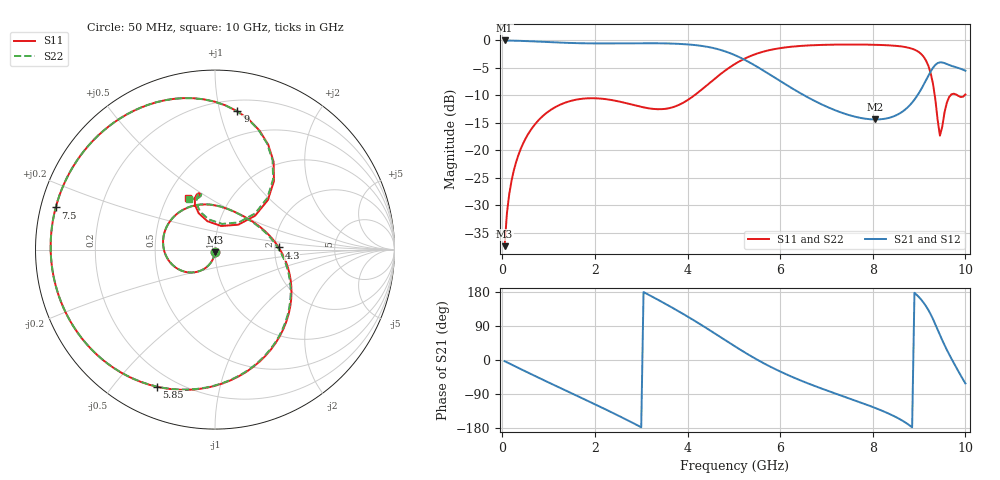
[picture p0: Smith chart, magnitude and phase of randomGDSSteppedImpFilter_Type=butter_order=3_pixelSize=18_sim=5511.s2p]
! freq	dB(S11)	phase(S11)	dB(S12)	phase(S12)
!  dB(S21)	phase(S21)	dB(S22)	phase(S22)
!S-par simulation data
#  GHz  S  DB  R 50
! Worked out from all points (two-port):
!   200 points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, 50 MHz to 10 GHz, reference 50 ohm
!   highest |S21| = -0.01 dB at 50 MHz (marker M1); lowest = -14.4 dB at 8.05 GHz (marker M2)
!   |S21| within 3 dB of the highest: start of sweep to 5.108 GHz
!   lowest |S11| = -37.5 dB at 50 MHz (marker M3), VSWR 1.03, Z = 49.9 - j1.34 ohm
!   |S11| at or under -10 dB: start of sweep to 4.148 GHz; 9.338 GHz to 9.68 GHz (341.9 MHz wide, 3.6 % of centre); 9.83 GHz to 9.98 GHz (149.6 MHz wide, 1.51 % of centre)
!   |S22| runs from -37.5 to -0.7 dB; largest |S21 - S12| = 0
!   S11 on the Smith chart (normalised r, x): 50 MHz: 1.00, -0.03; 4.3 GHz: 2.10, +0.06; 5.85 GHz: 0.13, -0.65; 7.5 GHz: 0.04, +0.13; 9 GHz: 0.29, +1.13; 10 GHz: 0.64, +0.41
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0.05  -37.45 -92.7  -0.01 -3.1  -0.01 -3.1  -37.46 -92.7
0.2  -25.51 -102.1  -0.03 -12.1  -0.03 -12.1  -25.51 -102.1
0.5  -17.91 -120.4  -0.11 -30.0  -0.11 -30.0  -17.91 -120.5
1.15  -12.12 -158.5  -0.36 -68.0  -0.36 -68.0  -12.12 -158.7
1.75  -10.60 167.2  -0.52 -102.4  -0.52 -102.4  -10.60 166.8
2.65  -11.37 114.5  -0.53 -155.6  -0.53 -155.6  -11.37 113.5
3.4  -12.52 66.7  -0.52 156.4  -0.52 156.4  -12.53 65.0
3.9  -11.37 31.8  -0.67 121.9  -0.67 121.9  -11.37 30.0
4.3  -8.99 1.9  -0.99 92.4  -0.99 92.4  -8.99 0.4
5.05  -4.15 -56.9  -2.78 34.0  -2.78 34.0  -4.15 -57.7
5.45  -2.54 -86.6  -4.53 4.6  -4.53 4.6  -2.54 -87.2
5.85  -1.62 -112.9  -6.60 -21.5  -6.60 -21.5  -1.62 -113.3
6.7  -0.88 -158.6  -10.82 -66.4  -10.82 -66.4  -0.88 -158.8
7.5  -0.74 165.2  -13.62 -101.7  -13.62 -101.7  -0.74 165.1
8.05  -0.80 140.5  -14.39 -126.4  -14.39 -126.4  -0.80 140.5
8.35  -0.90 125.7  -14.10 -141.8  -14.10 -141.8  -0.89 125.8
9  -2.15 80.8  -9.53 165.6  -9.53 165.6  -2.13 81.2
9.25  -5.96 49.3  -5.66 120.7  -5.66 120.7  -5.87 50.5
9.4  -14.42 46.9  -4.13 80.3  -4.13 80.3  -13.91 48.8
9.45  -17.33 75.4  -3.99 66.1  -3.99 66.1  -16.56 74.4
9.65  -10.29 111.6  -4.47 14.7  -4.47 14.7  -10.30 109.7
10  -9.84 117.5  -5.53 -61.9  -5.53 -61.9  -9.95 117.2
